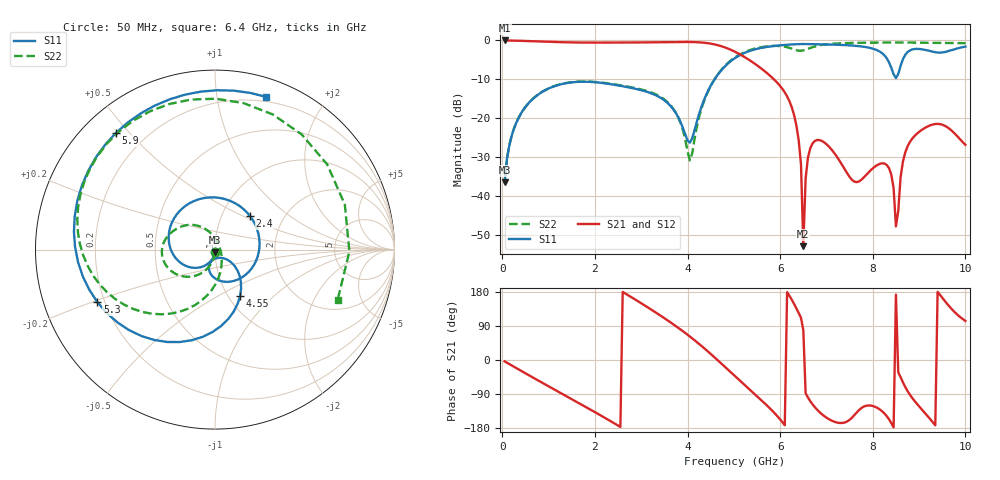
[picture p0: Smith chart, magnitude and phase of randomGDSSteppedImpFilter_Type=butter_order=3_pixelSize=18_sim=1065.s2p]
! freq	dB(S11)	phase(S11)	dB(S12)	phase(S12)
!  dB(S21)	phase(S21)	dB(S22)	phase(S22)
!S-par simulation data
#  GHz  S  DB  R 50
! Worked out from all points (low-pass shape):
!   200 points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, 50 MHz to 10 GHz, reference 50 ohm
!   highest |S21| = -0.01 dB at 50 MHz (marker M1); lowest = -52.9 dB at 6.5 GHz (marker M2)
!   |S21| within 3 dB of the highest: start of sweep to 5.041 GHz
!   lowest |S11| = -36.5 dB at 50 MHz (marker M3), VSWR 1.03, Z = 49.9 - j1.49 ohm
!   |S11| at or under -10 dB: start of sweep to 4.585 GHz
!   |S22| runs from -36.4 to -0.5 dB; largest |S21 - S12| = 0
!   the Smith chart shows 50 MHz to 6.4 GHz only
!   S11 on the Smith chart (normalised r, x): 50 MHz: 1.00, -0.03; 2.4 GHz: 1.35, +0.55; 4.55 GHz: 1.13, -0.64; 5.3 GHz: 0.17, -0.21; 5.9 GHz: 0.10, +0.46; 6.4 GHz: 0.16, +1.38
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0.05  -36.48 -94.2  -0.01 -3.6  -0.01 -3.6  -36.43 -92.4
0.5  -17.10 -133.6  -0.13 -35.1  -0.13 -35.1  -17.07 -117.6
1.75  -10.61 114.0  -0.55 -120.2  -0.55 -120.2  -10.56 -175.2
2.4  -11.36 44.3  -0.55 -165.8  -0.55 -165.8  -11.24 164.1
3.4  -14.62 -74.2  -0.47 118.5  -0.47 118.5  -14.40 133.6
4.05  -26.26 -74.8  -0.40 62.0  -0.40 62.0  -30.85 23.9
4.55  -10.65 -61.5  -0.94 10.7  -0.94 10.7  -10.64 -104.8
5.05  -4.34 -123.8  -3.06 -45.6  -3.06 -45.6  -4.15 -153.6
5.3  -2.88 -155.9  -4.78 -73.5  -4.78 -73.5  -2.66 -177.7
5.9  -1.38 130.3  -10.40 -142.8  -10.40 -142.8  -1.40 115.5
6.4  -0.94 71.6  -25.61 124.2  -25.61 124.2  -2.63 -22.2
6.5  -0.93 60.1  -52.89 78.7  -52.89 78.7  -2.55 -65.2
6.55  -0.93 54.4  -35.48 -87.6  -35.48 -87.6  -2.38 -84.8
6.7  -0.96 37.9  -26.46 -117.0  -26.46 -117.0  -1.73 -130.8
7.75  -1.54 -69.2  -35.86 -127.1  -35.86 -127.1  -0.60 118.3
8.35  -5.59 -174.2  -32.81 -156.3  -32.81 -156.3  -0.54 86.3
8.5  -9.69 86.0  -47.80 172.4  -47.80 172.4  -0.54 78.9
8.65  -4.87 -26.6  -31.22 -58.6  -31.22 -58.6  -0.54 71.5
8.9  -2.21 -107.1  -24.59 -107.8  -24.59 -107.8  -0.57 59.5
9.2  -2.62 -178.8  -22.03 -150.2  -22.03 -150.2  -0.60 45.3
9.5  -3.10 90.5  -21.66 164.2  -21.66 164.2  -0.64 31.2
10  -1.60 -28.8  -26.83 103.0  -26.83 103.0  -0.71 7.6
